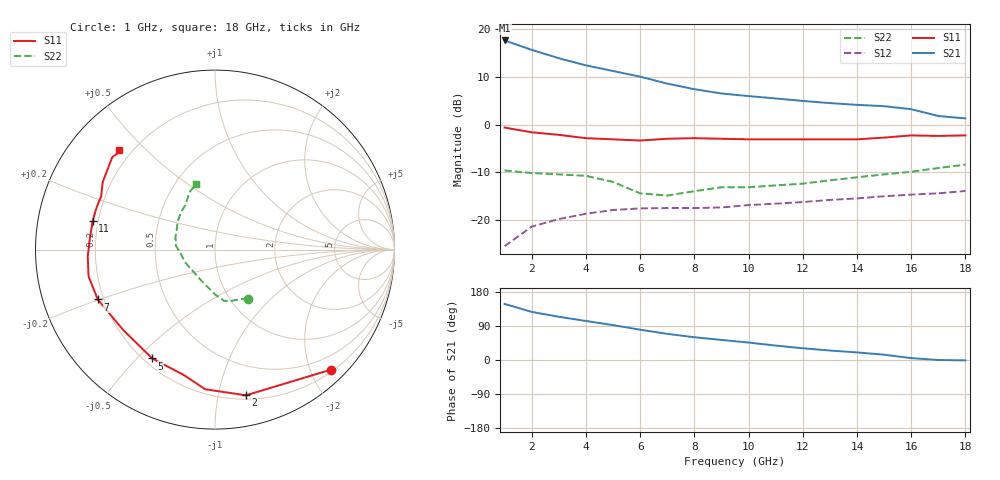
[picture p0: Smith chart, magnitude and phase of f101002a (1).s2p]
!ATF-10100
!S-PARAMETERS at Vds=2V  Id=25mA.  LAST UPDATED 07-22-92
# ghz s ma r 50
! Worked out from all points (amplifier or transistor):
!   18 points, 1 GHz to 18 GHz, reference 50 ohm
!   highest |S21| = 17.7 dB at 1 GHz (marker M1)
!   |S21| within 3 dB of that: start of sweep to 2.587 GHz
!   unconditionally stable (mu >= 1): 11.5 GHz to 14.7 GHz; 16.74 GHz to end of sweep
!   at 4 GHz: K = 0.52, MSG = 15.6 dB, |S12| = -18.7 dB
!   at 10 GHz: K = 0.97, MSG = 11.4 dB, |S12| = -16.9 dB
!   at 18 GHz: K = 1.02, MAG = 6.7 dB, |S12| = -13.9 dB
!   lowest NFmin = 0.30 dB at 100 MHz
!   S11 on the Smith chart (normalised r, x): 1 GHz: 0.24, -2.34; 2 GHz: 0.23, -1.21; 5 GHz: 0.23, -0.55; 7 GHz: 0.18, -0.20; 11 GHz: 0.18, +0.11; 18 GHz: 0.15, +0.42
1  0.93 -46.0  7.63 148.0  0.053 64.0  0.33 -56.0
2  0.83 -78.0  6.08 127.0  0.085 52.0  0.31 -63.0
3  0.78 -94.0  4.97 114.0  0.102 45.0  0.3 -72.0
4  0.72 -104.0  4.18 103.0  0.116 41.0  0.29 -80.0
5  0.7 -120.0  3.65 92.0  0.127 36.0  0.25 -90.0
6  0.68 -139.0  3.18 80.0  0.132 31.0  0.19 -113.0
7  0.71 -157.0  2.69 69.0  0.133 25.0  0.18 -156.0
8  0.72 -168.0  2.35 60.0  0.133 22.0  0.2 -178.0
9  0.71 -177.0  2.12 53.0  0.135 19.0  0.22 174.0
10  0.7 175.0  1.99 46.0  0.143 17.0  0.22 169.0
11  0.7 167.0  1.88 38.0  0.148 15.0  0.23 164.0
12  0.7 162.0  1.77 31.0  0.154 13.0  0.24 153.0
13  0.7 159.0  1.68 25.0  0.162 11.0  0.26 143.0
14  0.7 155.0  1.61 20.0  0.168 10.0  0.28 133.0
15  0.73 149.0  1.56 14.0  0.177 8.0  0.3 123.0
16  0.77 138.0  1.45 5.0  0.184 6.0  0.32 119.0
17  0.76 134.0  1.23 0.0  0.19 5.0  0.35 114.0
18  0.77 134.0  1.16 -1.0  0.201 4.0  0.38 106.0
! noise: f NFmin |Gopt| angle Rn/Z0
0.1  0.3  0.99  1  0.5
2  0.4  0.55  27  0.29
4  0.55  0.39  65  0.22
6  0.8  0.41  105  0.16
8  1  0.46  144  0.1
12  1.3  0.5  174  0.09
